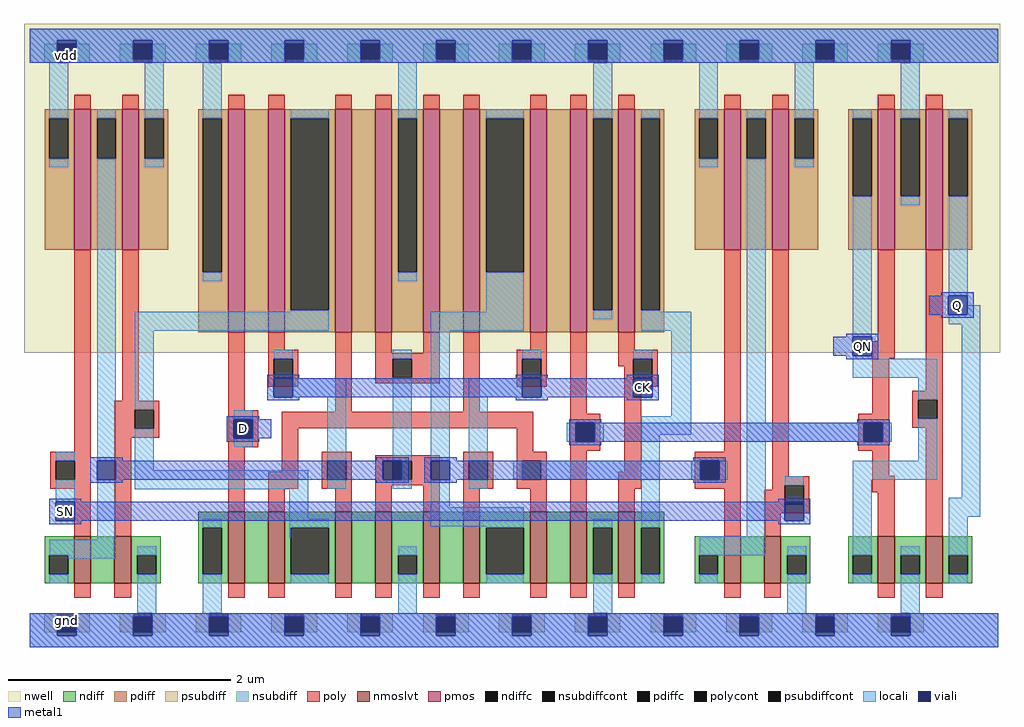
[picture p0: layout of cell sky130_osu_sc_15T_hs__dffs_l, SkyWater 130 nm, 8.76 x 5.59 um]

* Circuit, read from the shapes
.subckt sky130_osu_sc_15T_hs__dffs_l D CK QN Q
XM1 n1 SN n2 gnd sky130_fd_pr__nfet_01v8_lvt w=0.42 l=0.15
XM2 gnd n3 n1 gnd sky130_fd_pr__nfet_01v8_lvt w=0.42 l=0.15
XM3 n4 D gnd gnd sky130_fd_pr__nfet_01v8_lvt w=0.64 l=0.15
XM4 n3 n5 n4 gnd sky130_fd_pr__nfet_01v8_lvt w=0.64 l=0.15
XM5 n6 CK n3 gnd sky130_fd_pr__nfet_01v8_lvt w=0.64 l=0.15
XM6 gnd n2 n6 gnd sky130_fd_pr__nfet_01v8_lvt w=0.64 l=0.15
XM7 n7 n2 gnd gnd sky130_fd_pr__nfet_01v8_lvt w=0.64 l=0.15
XM8 n8 CK n7 gnd sky130_fd_pr__nfet_01v8_lvt w=0.64 l=0.15
XM9 n9 n5 n8 gnd sky130_fd_pr__nfet_01v8_lvt w=0.64 l=0.15
XM10 gnd n10 n9 gnd sky130_fd_pr__nfet_01v8_lvt w=0.64 l=0.15
XM11 n5 CK gnd gnd sky130_fd_pr__nfet_01v8_lvt w=0.64 l=0.15
XM12 n11 n8 n10 gnd sky130_fd_pr__nfet_01v8_lvt w=0.42 l=0.15
XM13 gnd SN n11 gnd sky130_fd_pr__nfet_01v8_lvt w=0.42 l=0.15
XM14 gnd n10 QN gnd sky130_fd_pr__nfet_01v8_lvt w=0.42 l=0.15
XM15 Q QN gnd gnd sky130_fd_pr__nfet_01v8_lvt w=0.42 l=0.15
XM16 n2 SN vdd vdd sky130_fd_pr__pfet_01v8 w=1.26 l=0.15
XM17 vdd n3 n2 vdd sky130_fd_pr__pfet_01v8 w=1.26 l=0.15
XM18 n12 D vdd vdd sky130_fd_pr__pfet_01v8 w=2 l=0.15
XM19 n3 CK n12 vdd sky130_fd_pr__pfet_01v8 w=2 l=0.15
XM20 n13 n5 n3 vdd sky130_fd_pr__pfet_01v8 w=2 l=0.15
XM21 vdd n2 n13 vdd sky130_fd_pr__pfet_01v8 w=2 l=0.15
XM22 n14 n2 vdd vdd sky130_fd_pr__pfet_01v8 w=2 l=0.15
XM23 n8 n5 n14 vdd sky130_fd_pr__pfet_01v8 w=2 l=0.15
XM24 n15 CK n8 vdd sky130_fd_pr__pfet_01v8 w=2 l=0.15
XM25 vdd n10 n15 vdd sky130_fd_pr__pfet_01v8 w=2 l=0.15
XM26 n5 CK vdd vdd sky130_fd_pr__pfet_01v8 w=2 l=0.15
XM27 n10 n8 vdd vdd sky130_fd_pr__pfet_01v8 w=1.26 l=0.15
XM28 vdd SN n10 vdd sky130_fd_pr__pfet_01v8 w=1.26 l=0.15
XM29 vdd n10 QN vdd sky130_fd_pr__pfet_01v8 w=1.26 l=0.15
XM30 Q QN vdd vdd sky130_fd_pr__pfet_01v8 w=1.26 l=0.15
.ends

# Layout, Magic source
magic
tech sky130A
magscale 1 2
<< nwell >>
rect -10 529 1741 1119
<< nmoslvt >>
rect 80 115 110 199
rect 152 115 182 199
rect 356 115 386 243
rect 428 115 458 243
rect 548 115 578 243
rect 620 115 650 243
rect 706 115 736 243
rect 778 115 808 243
rect 898 115 928 243
rect 970 115 1000 243
rect 1056 115 1086 243
rect 1246 115 1276 199
rect 1318 115 1348 199
rect 1522 115 1552 199
rect 1608 115 1638 199
<< pmos >>
rect 80 713 110 965
rect 166 713 196 965
rect 356 565 386 965
rect 428 565 458 965
rect 548 565 578 965
rect 620 565 650 965
rect 706 565 736 965
rect 778 565 808 965
rect 898 565 928 965
rect 970 565 1000 965
rect 1056 565 1086 965
rect 1246 713 1276 965
rect 1332 713 1362 965
rect 1522 713 1552 965
rect 1608 713 1638 965
<< ndiff >>
rect 303 215 356 243
rect 27 165 80 199
rect 27 131 35 165
rect 69 131 80 165
rect 27 115 80 131
rect 110 115 152 199
rect 182 165 235 199
rect 182 131 193 165
rect 227 131 235 165
rect 182 115 235 131
rect 303 131 311 215
rect 345 131 356 215
rect 303 115 356 131
rect 386 115 428 243
rect 458 215 548 243
rect 458 131 469 215
rect 537 131 548 215
rect 458 115 548 131
rect 578 115 620 243
rect 650 165 706 243
rect 650 131 661 165
rect 695 131 706 165
rect 650 115 706 131
rect 736 115 778 243
rect 808 215 898 243
rect 808 131 819 215
rect 887 131 898 215
rect 808 115 898 131
rect 928 115 970 243
rect 1000 215 1056 243
rect 1000 131 1011 215
rect 1045 131 1056 215
rect 1000 115 1056 131
rect 1086 215 1139 243
rect 1086 131 1097 215
rect 1131 131 1139 215
rect 1086 115 1139 131
rect 1193 165 1246 199
rect 1193 131 1201 165
rect 1235 131 1246 165
rect 1193 115 1246 131
rect 1276 115 1318 199
rect 1348 165 1401 199
rect 1348 131 1359 165
rect 1393 131 1401 165
rect 1348 115 1401 131
rect 1469 165 1522 199
rect 1469 131 1477 165
rect 1511 131 1522 165
rect 1469 115 1522 131
rect 1552 165 1608 199
rect 1552 131 1563 165
rect 1597 131 1608 165
rect 1552 115 1608 131
rect 1638 165 1691 199
rect 1638 131 1649 165
rect 1683 131 1691 165
rect 1638 115 1691 131
<< pdiff >>
rect 27 949 80 965
rect 27 877 35 949
rect 69 877 80 949
rect 27 713 80 877
rect 110 949 166 965
rect 110 877 121 949
rect 155 877 166 949
rect 110 713 166 877
rect 196 949 249 965
rect 196 877 207 949
rect 241 877 249 949
rect 196 713 249 877
rect 303 949 356 965
rect 303 673 311 949
rect 345 673 356 949
rect 303 565 356 673
rect 386 565 428 965
rect 458 949 548 965
rect 458 605 469 949
rect 537 605 548 949
rect 458 565 548 605
rect 578 565 620 965
rect 650 949 706 965
rect 650 673 661 949
rect 695 673 706 949
rect 650 565 706 673
rect 736 565 778 965
rect 808 949 898 965
rect 808 673 819 949
rect 887 673 898 949
rect 808 565 898 673
rect 928 565 970 965
rect 1000 949 1056 965
rect 1000 605 1011 949
rect 1045 605 1056 949
rect 1000 565 1056 605
rect 1086 949 1139 965
rect 1086 605 1097 949
rect 1131 605 1139 949
rect 1193 949 1246 965
rect 1193 877 1201 949
rect 1235 877 1246 949
rect 1193 713 1246 877
rect 1276 949 1332 965
rect 1276 877 1287 949
rect 1321 877 1332 949
rect 1276 713 1332 877
rect 1362 949 1415 965
rect 1362 877 1373 949
rect 1407 877 1415 949
rect 1362 713 1415 877
rect 1469 949 1522 965
rect 1469 809 1477 949
rect 1511 809 1522 949
rect 1469 713 1522 809
rect 1552 949 1608 965
rect 1552 809 1563 949
rect 1597 809 1608 949
rect 1552 713 1608 809
rect 1638 949 1691 965
rect 1638 809 1649 949
rect 1683 809 1691 949
rect 1638 713 1691 809
rect 1086 565 1139 605
<< ndiffc >>
rect 35 131 69 165
rect 193 131 227 165
rect 311 131 345 215
rect 469 131 537 215
rect 661 131 695 165
rect 819 131 887 215
rect 1011 131 1045 215
rect 1097 131 1131 215
rect 1201 131 1235 165
rect 1359 131 1393 165
rect 1477 131 1511 165
rect 1563 131 1597 165
rect 1649 131 1683 165
<< pdiffc >>
rect 35 877 69 949
rect 121 877 155 949
rect 207 877 241 949
rect 311 673 345 949
rect 469 605 537 949
rect 661 673 695 949
rect 819 673 887 949
rect 1011 605 1045 949
rect 1097 605 1131 949
rect 1201 877 1235 949
rect 1287 877 1321 949
rect 1373 877 1407 949
rect 1477 809 1511 949
rect 1563 809 1597 949
rect 1649 809 1683 949
<< psubdiff >>
rect 26 27 50 61
rect 84 27 108 61
rect 162 27 186 61
rect 220 27 244 61
rect 298 27 322 61
rect 356 27 380 61
rect 434 27 458 61
rect 492 27 516 61
rect 570 27 594 61
rect 628 27 652 61
rect 706 27 730 61
rect 764 27 788 61
rect 842 27 866 61
rect 900 27 924 61
rect 978 27 1002 61
rect 1036 27 1060 61
rect 1114 27 1138 61
rect 1172 27 1196 61
rect 1250 27 1274 61
rect 1308 27 1332 61
rect 1386 27 1410 61
rect 1444 27 1468 61
rect 1522 27 1546 61
rect 1580 27 1604 61
<< nsubdiff >>
rect 26 1049 50 1083
rect 84 1049 108 1083
rect 162 1049 186 1083
rect 220 1049 244 1083
rect 298 1049 322 1083
rect 356 1049 380 1083
rect 434 1049 458 1083
rect 492 1049 516 1083
rect 570 1049 594 1083
rect 628 1049 652 1083
rect 706 1049 730 1083
rect 764 1049 788 1083
rect 842 1049 866 1083
rect 900 1049 924 1083
rect 978 1049 1002 1083
rect 1036 1049 1060 1083
rect 1114 1049 1138 1083
rect 1172 1049 1196 1083
rect 1250 1049 1274 1083
rect 1308 1049 1332 1083
rect 1386 1049 1410 1083
rect 1444 1049 1468 1083
rect 1522 1049 1546 1083
rect 1580 1049 1604 1083
<< psubdiffcont >>
rect 50 27 84 61
rect 186 27 220 61
rect 322 27 356 61
rect 458 27 492 61
rect 594 27 628 61
rect 730 27 764 61
rect 866 27 900 61
rect 1002 27 1036 61
rect 1138 27 1172 61
rect 1274 27 1308 61
rect 1410 27 1444 61
rect 1546 27 1580 61
<< nsubdiffcont >>
rect 50 1049 84 1083
rect 186 1049 220 1083
rect 322 1049 356 1083
rect 458 1049 492 1083
rect 594 1049 628 1083
rect 730 1049 764 1083
rect 866 1049 900 1083
rect 1002 1049 1036 1083
rect 1138 1049 1172 1083
rect 1274 1049 1308 1083
rect 1410 1049 1444 1083
rect 1546 1049 1580 1083
<< poly >>
rect 80 965 110 991
rect 166 965 196 991
rect 356 965 386 991
rect 428 965 458 991
rect 548 965 578 991
rect 620 965 650 991
rect 706 965 736 991
rect 778 965 808 991
rect 898 965 928 991
rect 970 965 1000 991
rect 1056 965 1086 991
rect 1246 965 1276 991
rect 1332 965 1362 991
rect 1522 965 1552 991
rect 1608 965 1638 991
rect 80 351 110 713
rect 166 442 196 713
rect 37 335 110 351
rect 37 301 47 335
rect 81 301 110 335
rect 37 285 110 301
rect 80 199 110 285
rect 152 426 233 442
rect 152 392 189 426
rect 223 392 233 426
rect 152 376 233 392
rect 356 425 386 565
rect 428 534 458 565
rect 428 518 482 534
rect 428 484 438 518
rect 472 484 482 518
rect 428 468 482 484
rect 356 409 410 425
rect 548 423 578 565
rect 620 528 650 565
rect 706 528 736 565
rect 620 518 736 528
rect 620 484 652 518
rect 686 484 736 518
rect 620 474 736 484
rect 778 423 808 565
rect 898 534 928 565
rect 874 518 928 534
rect 874 484 884 518
rect 918 484 928 518
rect 874 468 928 484
rect 152 199 182 376
rect 356 375 366 409
rect 400 375 410 409
rect 356 359 410 375
rect 452 393 904 423
rect 356 243 386 359
rect 452 315 482 393
rect 874 351 904 393
rect 970 419 1000 565
rect 1056 534 1086 565
rect 1056 518 1127 534
rect 1056 504 1083 518
rect 1067 484 1083 504
rect 1117 484 1127 518
rect 1067 468 1127 484
rect 970 403 1024 419
rect 970 369 980 403
rect 1014 369 1024 403
rect 970 353 1024 369
rect 428 285 482 315
rect 524 335 578 351
rect 524 301 534 335
rect 568 301 578 335
rect 524 285 578 301
rect 428 243 458 285
rect 548 243 578 285
rect 620 335 736 345
rect 620 301 652 335
rect 686 301 736 335
rect 620 291 736 301
rect 620 243 650 291
rect 706 243 736 291
rect 778 335 832 351
rect 778 301 788 335
rect 822 301 832 335
rect 778 285 832 301
rect 874 335 928 351
rect 874 301 884 335
rect 918 301 928 335
rect 874 285 928 301
rect 778 243 808 285
rect 898 243 928 285
rect 970 243 1000 353
rect 1067 315 1097 468
rect 1246 351 1276 713
rect 1056 285 1097 315
rect 1193 335 1276 351
rect 1193 301 1203 335
rect 1237 301 1276 335
rect 1193 285 1276 301
rect 1056 243 1086 285
rect 1246 199 1276 285
rect 1332 307 1362 713
rect 1522 549 1552 713
rect 1512 519 1552 549
rect 1512 419 1542 519
rect 1608 460 1638 713
rect 1487 403 1542 419
rect 1487 369 1497 403
rect 1531 369 1542 403
rect 1584 444 1638 460
rect 1584 410 1594 444
rect 1628 410 1638 444
rect 1584 394 1638 410
rect 1487 353 1542 369
rect 1512 308 1542 353
rect 1332 291 1399 307
rect 1332 283 1355 291
rect 1318 257 1355 283
rect 1389 257 1399 291
rect 1512 278 1552 308
rect 1318 241 1399 257
rect 1318 199 1348 241
rect 1522 199 1552 278
rect 1608 199 1638 394
rect 80 89 110 115
rect 152 89 182 115
rect 356 89 386 115
rect 428 89 458 115
rect 548 89 578 115
rect 620 89 650 115
rect 706 89 736 115
rect 778 89 808 115
rect 898 89 928 115
rect 970 89 1000 115
rect 1056 89 1086 115
rect 1246 89 1276 115
rect 1318 89 1348 115
rect 1522 89 1552 115
rect 1608 89 1638 115
<< polycont >>
rect 47 301 81 335
rect 189 392 223 426
rect 438 484 472 518
rect 652 484 686 518
rect 884 484 918 518
rect 366 375 400 409
rect 1083 484 1117 518
rect 980 369 1014 403
rect 534 301 568 335
rect 652 301 686 335
rect 788 301 822 335
rect 884 301 918 335
rect 1203 301 1237 335
rect 1497 369 1531 403
rect 1594 410 1628 444
rect 1355 257 1389 291
<< locali >>
rect 0 1089 1738 1110
rect 0 1049 50 1089
rect 84 1049 186 1089
rect 220 1049 322 1089
rect 356 1049 458 1089
rect 492 1049 594 1089
rect 628 1049 730 1089
rect 764 1049 866 1089
rect 900 1049 1002 1089
rect 1036 1049 1138 1089
rect 1172 1049 1274 1089
rect 1308 1049 1410 1089
rect 1444 1049 1546 1089
rect 1580 1049 1738 1089
rect 35 949 69 1049
rect 35 861 69 877
rect 121 949 155 965
rect 47 335 81 351
rect 47 261 81 301
rect 121 335 155 877
rect 207 949 241 1049
rect 207 861 241 877
rect 311 949 345 1049
rect 311 657 345 673
rect 469 949 537 965
rect 661 949 695 1049
rect 661 657 695 673
rect 819 949 887 965
rect 469 602 537 605
rect 819 602 887 673
rect 121 193 155 301
rect 189 568 537 602
rect 720 568 887 602
rect 1011 949 1045 1049
rect 1011 589 1045 605
rect 1097 949 1131 965
rect 1201 949 1235 1049
rect 1201 861 1235 877
rect 1287 949 1321 965
rect 1097 602 1131 605
rect 1097 568 1187 602
rect 189 426 223 568
rect 438 518 472 534
rect 438 483 472 484
rect 652 518 686 534
rect 472 449 568 483
rect 189 318 223 392
rect 366 409 400 425
rect 366 359 400 375
rect 534 335 568 449
rect 652 335 686 484
rect 189 284 500 318
rect 534 285 568 301
rect 652 285 686 301
rect 720 335 754 568
rect 884 518 918 534
rect 884 483 918 484
rect 466 231 500 284
rect 720 251 754 301
rect 788 449 884 483
rect 1083 518 1117 534
rect 1083 483 1117 484
rect 788 335 822 449
rect 1151 415 1187 568
rect 964 369 980 403
rect 1014 369 1030 403
rect 1097 381 1187 415
rect 1287 403 1321 877
rect 1373 949 1407 1049
rect 1373 861 1407 877
rect 1477 949 1511 965
rect 1477 557 1511 809
rect 1563 949 1597 1049
rect 1563 793 1597 809
rect 1649 949 1683 965
rect 1649 631 1683 809
rect 1682 614 1683 631
rect 1682 597 1706 614
rect 1649 580 1706 597
rect 1477 518 1511 523
rect 1477 484 1628 518
rect 1594 444 1628 484
rect 1097 335 1131 381
rect 1287 369 1497 403
rect 1531 369 1547 403
rect 868 301 884 335
rect 918 301 1131 335
rect 1187 301 1203 335
rect 1237 301 1253 335
rect 788 285 822 301
rect 35 165 155 193
rect 311 215 345 231
rect 69 159 155 165
rect 193 165 227 181
rect 35 115 69 131
rect 193 61 227 131
rect 466 215 537 231
rect 720 217 887 251
rect 466 197 469 215
rect 311 61 345 131
rect 819 215 887 217
rect 469 115 537 131
rect 661 165 695 181
rect 661 61 695 131
rect 819 115 887 131
rect 1011 215 1045 231
rect 1011 61 1045 131
rect 1097 215 1131 301
rect 1287 199 1321 369
rect 1594 335 1628 410
rect 1355 291 1389 307
rect 1477 301 1628 335
rect 1097 115 1131 131
rect 1201 165 1321 199
rect 1359 165 1393 181
rect 1201 115 1235 131
rect 1359 61 1393 131
rect 1477 165 1511 301
rect 1672 268 1706 580
rect 1649 234 1706 268
rect 1477 115 1511 131
rect 1563 165 1597 181
rect 1563 61 1597 131
rect 1649 165 1683 234
rect 1649 115 1683 131
rect 0 21 50 61
rect 84 21 186 61
rect 220 21 322 61
rect 356 21 458 61
rect 492 21 594 61
rect 628 21 730 61
rect 764 21 866 61
rect 900 21 1002 61
rect 1036 21 1138 61
rect 1172 21 1274 61
rect 1308 21 1410 61
rect 1444 21 1546 61
rect 1580 21 1738 61
rect 0 0 1738 21
<< viali >>
rect 50 1083 84 1089
rect 50 1055 84 1083
rect 186 1083 220 1089
rect 186 1055 220 1083
rect 322 1083 356 1089
rect 322 1055 356 1083
rect 458 1083 492 1089
rect 458 1055 492 1083
rect 594 1083 628 1089
rect 594 1055 628 1083
rect 730 1083 764 1089
rect 730 1055 764 1083
rect 866 1083 900 1089
rect 866 1055 900 1083
rect 1002 1083 1036 1089
rect 1002 1055 1036 1083
rect 1138 1083 1172 1089
rect 1138 1055 1172 1083
rect 1274 1083 1308 1089
rect 1274 1055 1308 1083
rect 1410 1083 1444 1089
rect 1410 1055 1444 1083
rect 1546 1083 1580 1089
rect 1546 1055 1580 1083
rect 47 227 81 261
rect 121 301 155 335
rect 438 449 472 483
rect 366 375 400 409
rect 634 301 652 335
rect 652 301 668 335
rect 720 301 754 335
rect 884 449 918 483
rect 1083 449 1117 483
rect 980 369 1014 403
rect 1648 597 1682 631
rect 1477 523 1511 557
rect 1497 369 1531 403
rect 1203 301 1237 335
rect 1355 257 1389 261
rect 1355 227 1389 257
rect 50 27 84 55
rect 50 21 84 27
rect 186 27 220 55
rect 186 21 220 27
rect 322 27 356 55
rect 322 21 356 27
rect 458 27 492 55
rect 458 21 492 27
rect 594 27 628 55
rect 594 21 628 27
rect 730 27 764 55
rect 730 21 764 27
rect 866 27 900 55
rect 866 21 900 27
rect 1002 27 1036 55
rect 1002 21 1036 27
rect 1138 27 1172 55
rect 1138 21 1172 27
rect 1274 27 1308 55
rect 1274 21 1308 27
rect 1410 27 1444 55
rect 1410 21 1444 27
rect 1546 27 1580 55
rect 1546 21 1580 27
<< metal1 >>
rect 0 1089 1738 1110
rect 0 1055 50 1089
rect 84 1055 186 1089
rect 220 1055 322 1089
rect 356 1055 458 1089
rect 492 1055 594 1089
rect 628 1055 730 1089
rect 764 1055 866 1089
rect 900 1055 1002 1089
rect 1036 1055 1138 1089
rect 1172 1055 1274 1089
rect 1308 1055 1410 1089
rect 1444 1055 1546 1089
rect 1580 1055 1738 1089
rect 0 1049 1738 1055
rect 1636 631 1694 637
rect 1614 597 1648 631
rect 1682 597 1694 631
rect 1636 591 1694 597
rect 1465 557 1523 563
rect 1442 523 1477 557
rect 1511 523 1523 557
rect 1465 517 1523 523
rect 426 483 484 489
rect 872 483 930 489
rect 1071 483 1129 489
rect 426 449 438 483
rect 472 449 884 483
rect 918 449 1083 483
rect 1117 449 1129 483
rect 426 443 484 449
rect 872 443 930 449
rect 1071 443 1129 449
rect 354 409 412 415
rect 354 375 366 409
rect 400 375 434 409
rect 968 403 1026 409
rect 1485 403 1543 409
rect 354 369 412 375
rect 968 369 980 403
rect 1014 369 1497 403
rect 1531 369 1543 403
rect 968 363 1026 369
rect 1485 363 1543 369
rect 109 335 167 341
rect 622 335 680 341
rect 109 301 121 335
rect 155 301 634 335
rect 668 301 680 335
rect 109 295 167 301
rect 622 295 680 301
rect 708 335 766 341
rect 1191 335 1249 341
rect 708 301 720 335
rect 754 301 1203 335
rect 1237 301 1249 335
rect 708 295 766 301
rect 1191 295 1249 301
rect 35 261 93 267
rect 1343 261 1401 267
rect 35 227 47 261
rect 81 227 1355 261
rect 1389 227 1401 261
rect 35 221 93 227
rect 1343 221 1401 227
rect 0 55 1738 61
rect 0 21 50 55
rect 84 21 186 55
rect 220 21 322 55
rect 356 21 458 55
rect 492 21 594 55
rect 628 21 730 55
rect 764 21 866 55
rect 900 21 1002 55
rect 1036 21 1138 55
rect 1172 21 1274 55
rect 1308 21 1410 55
rect 1444 21 1546 55
rect 1580 21 1738 55
rect 0 0 1738 21
<< labels >>
rlabel viali 383 392 383 392 1 D
port 1 n
rlabel viali 1100 466 1100 466 1 CK
port 2 n
rlabel viali 1665 614 1665 614 1 Q
port 4 n
rlabel viali 1495 540 1495 540 1 QN
port 3 n
rlabel viali 67 48 67 48 1 gnd
rlabel viali 67 1062 67 1062 1 vdd
rlabel viali 64 244 64 244 1 SN
<< end >>
